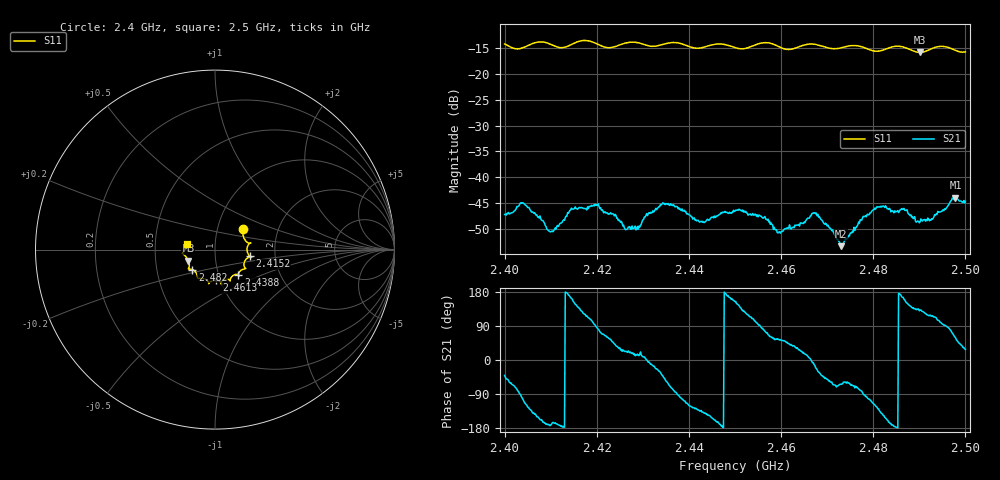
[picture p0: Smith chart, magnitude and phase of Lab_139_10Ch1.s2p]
# Hz S RI R 50
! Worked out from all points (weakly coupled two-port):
!   601 points, 2.4 GHz to 2.5 GHz, reference 50 ohm
!   highest |S21| = -43.95 dB at 2.4978 GHz (marker M1); lowest = -53.3 dB at 2.473 GHz (marker M2)
!   lowest |S11| = -15.9 dB at 2.4902 GHz (marker M3), VSWR 1.38, Z = 36.9 - j4.66 ohm
!   |S11| at or under -10 dB: start of sweep to end of sweep
!   S12 and S22 are empty: the file has one direction only
!   S11 on the Smith chart (normalised r, x): 2.4 GHz: 1.33, +0.31; 2.4152 GHz: 1.48, -0.12; 2.4388 GHz: 1.24, -0.36; 2.4613 GHz: 0.96, -0.34; 2.482 GHz: 0.76, -0.17; 2.5 GHz: 0.72, +0.05
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2.4e9  0.1579 0.112  0.00332 -0.00286  0 0  0 0
2.404e9  0.1714 0.0478  -0.00144 -0.00549  0 0  0 0
2.410167e9  0.1881 0.0296  -0.00297 -0.000529  0 0  0 0
2.415167e9  0.1937 -0.0376  -0.00434 0.00249  0 0  0 0
2.416667e9  0.2033 -0.044  -0.00323 0.00397  0 0  0 0
2.42e9  0.1896 -0.0423  0.000393 0.00543  0 0  0 0
2.4265e9  0.1693 -0.1038  0.00291 0.0012  0 0  0 0
2.429e9  0.168 -0.1063  0.00309 0.000681  0 0  0 0
2.433333e9  0.1322 -0.1315  0.00455 -0.00231  0 0  0 0
2.438833e9  0.1297 -0.1406  -0.00137 -0.00453  0 0  0 0
2.442833e9  0.0921 -0.1525  -0.00272 -0.00251  0 0  0 0
2.45e9  0.0687 -0.1647  -0.00423 0.00208  0 0  0 0
2.456667e9  0.038 -0.1956  0.0011 0.0038  0 0  0 0
2.4595e9  0.0295 -0.1798  0.00173 0.00242  0 0  0 0
2.461333e9  0.00759 -0.1712  0.00224 0.00237  0 0  0 0
2.466667e9  -0.0349 -0.19  0.00446 -0.000264  0 0  0 0
2.473e9  -0.0779 -0.1595  0.00093 -0.00196  0 0  0 0
2.482e9  -0.1257 -0.1115  -0.0042 -0.00321  0 0  0 0
2.483333e9  -0.1395 -0.1087  -0.00472 -0.00135  0 0  0 0
2.490167e9  -0.148 -0.0617  -0.00245 0.00279  0 0  0 0
2.497833e9  -0.168 -0.0027  0.00326 0.00545  0 0  0 0
2.5e9  -0.1588 0.0324  0.00521 0.00271  0 0  0 0
